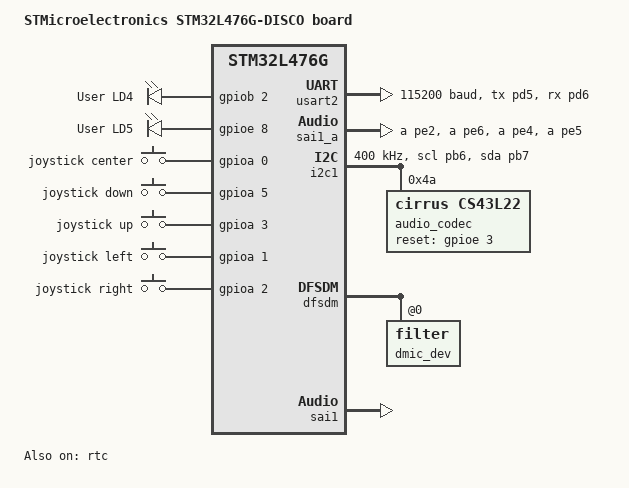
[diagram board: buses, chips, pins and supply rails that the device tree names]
/*
 * Copyright (c) 2017 Arthur Sfez
 *
 * Based on stm32l496g_disco:
 *
 * Copyright (c) 2017 Linaro Limited
 *
 * SPDX-License-Identifier: Apache-2.0
 */

/dts-v1/;
#include <st/l4/stm32l476Xg.dtsi>
#include <st/l4/stm32l476v(c-e-g)tx-pinctrl.dtsi>
#include <zephyr/dt-bindings/input/input-event-codes.h>

/ {
	model = "STMicroelectronics STM32L476G-DISCO board";
	compatible = "st,stm32l476g-disco";

	aliases {
		dmic0 = &dmic_dev;
		i2s-codec-tx = &sai1_a;
		led0 = &green_led_4;
		sw0 = &joy_center;
	};

	chosen {
		zephyr,console = &usart2;
		zephyr,shell-uart = &usart2;
		zephyr,sram = &sram0;
		zephyr,flash = &flash0;
	};

	leds {
		compatible = "gpio-leds";

		green_led_4: led_4 {
			gpios = <&gpiob 2 GPIO_ACTIVE_HIGH>;
			label = "User LD4";
		};

		green_led_5: led_5 {
			gpios = <&gpioe 8 GPIO_ACTIVE_HIGH>;
			label = "User LD5";
		};
	};

	gpio_keys {
		compatible = "gpio-keys";

		joy_center: joystick_center {
			label = "joystick center";
			gpios = <&gpioa 0 (GPIO_ACTIVE_HIGH | GPIO_PULL_DOWN)>;
			zephyr,code = <INPUT_KEY_ENTER>;
		};

		joy_down: joystick_down {
			label = "joystick down";
			gpios = <&gpioa 5 (GPIO_ACTIVE_HIGH | GPIO_PULL_DOWN)>;
			zephyr,code = <INPUT_KEY_DOWN>;
		};

		joy_up: joystick_up {
			label = "joystick up";
			gpios = <&gpioa 3 (GPIO_ACTIVE_HIGH | GPIO_PULL_DOWN)>;
			zephyr,code = <INPUT_KEY_UP>;
		};

		joy_left: joystick_left {
			label = "joystick left";
			gpios = <&gpioa 1 (GPIO_ACTIVE_HIGH | GPIO_PULL_DOWN)>;
			zephyr,code = <INPUT_KEY_LEFT>;
		};

		joy_right: joystick_right {
			label = "joystick right";
			gpios = <&gpioa 2 (GPIO_ACTIVE_HIGH | GPIO_PULL_DOWN)>;
			zephyr,code = <INPUT_KEY_RIGHT>;
		};
	};
};

&clk_lsi {
	status = "okay";
};

&clk_hsi {
	status = "okay";
};

&pll {
	div-m = <1>;
	mul-n = <20>;
	div-p = <7>;
	div-q = <2>;
	div-r = <4>;
	clocks = <&clk_hsi>;
	status = "okay";
};

&pllsai1 {
	div-m = <1>;
	mul-n = <22>;
	div-p = <7>;
	clocks = <&clk_hsi>;
	status = "okay";
};

&rcc {
	clocks = <&pll>;
	clock-frequency = <DT_FREQ_M(80)>;
	ahb-prescaler = <1>;
	apb1-prescaler = <1>;
	apb2-prescaler = <1>;
};

&usart2 {
	pinctrl-0 = <&usart2_tx_pd5 &usart2_rx_pd6>;
	pinctrl-names = "default";
	current-speed = <115200>;
	status = "okay";
};

&rtc {
	clocks = <&rcc STM32_CLOCK(APB1, 28)>,
		 <&rcc STM32_SRC_LSI RTC_SEL(2)>;
	status = "okay";

	backup_regs {
		status = "okay";
	};
};

&sai1_a {
	pinctrl-0 = <&sai1_mclk_a_pe2 &sai1_sd_a_pe6
		     &sai1_fs_a_pe4 &sai1_sck_a_pe5>;
	pinctrl-names = "default";
	mclk-enable;
	mclk-divider = "div-256";
	dma-names = "tx";
	status = "okay";
};

&i2c1 {
	clock-frequency = <I2C_BITRATE_FAST>;
	pinctrl-0 = <&i2c1_scl_pb6 &i2c1_sda_pb7>;
	pinctrl-names = "default";
	status = "okay";

	audio_codec: cs43l22@4a {
		compatible = "cirrus,cs43l22";
		reg = <0x4a>;
		reset-gpios = <&gpioe 3 0>;
	};
};

&dfsdm {
	dmic_dev: filter@0 {
		pinctrl-0 = <&dfsdm1_ckout_pe9
			     &dfsdm1_datin2_pe7>;
		pinctrl-names = "default";
		status = "okay";

		channel@2 {
			reg = <2>;
		};
	};

	status = "okay";
};

&dma2 {
	status = "okay";
};

&sai1 {
	status = "okay";
};

/* SLCD configuration */
&slcd {
	status = "disabled";
	lcd-voltage-source = <0>;
	lcd-prescaler = <0>;
	lcd-divider = <0x003c0000>;
	lcd-contrast = <0x00001400>;
	lcd-pulse-on-duration = <0x00000040>;
	lcd-dead-time = <0>;
	lcd-high-drive = <0>;
	lcd-blink-mode = <0>;
	lcd-blink-frequency = <0x00004000>;
	pinctrl-0 = <&lcd_seg3_pa6 &lcd_seg4_pa7 &lcd_com0_pa8
		     &lcd_com1_pa9 &lcd_com2_pa10 &lcd_seg17_pa15
		     &lcd_seg5_pb0 &lcd_seg6_pb1 &lcd_seg8_pb4
		     &lcd_seg9_pb5 &lcd_com3_pb9 &lcd_seg12_pb12
		     &lcd_seg13_pb13 &lcd_seg14_pb14 &lcd_seg15_pb15
		     &lcd_vlcd_pc3 &lcd_seg22_pc4 &lcd_seg23_pc5
		     &lcd_seg24_pc6 &lcd_seg25_pc7 &lcd_seg26_pc8
		     &lcd_seg28_pd8 &lcd_seg29_pd9 &lcd_seg30_pd10 &lcd_seg31_pd11
		     &lcd_seg32_pd12 &lcd_seg33_pd13 &lcd_seg34_pd14 &lcd_seg35_pd15>;
	pinctrl-names = "default";
	pin-list = <4 23 6 13 15 29 31 33 35 25 17 8 9 26 24 34 32 30 28 14 12 5 22 3>;
	com-list = <0 2 4 6 1 3 5 7>;
	character-bit-list = <
			      /* MCU AFP11 channel for segment 1A-1P */
			      (1 << 22) (1 << 22) (1 << 23) (1 << 4) (1 << 4) (1 << 3) (1 << 3)
			      (1 << 3) (1 << 22) (1 << 22) (1 << 23) (1 << 4) (1 << 4) (1 << 3)
			      /* MCU AFP11 channel for segment 2A-2P */
			      (1 << 12) (1 << 12) (1 << 13) (1 << 6) (1 << 6) (1 << 5) (1 << 5)
			      (1 << 5) (1 << 12) (1 << 12) (1 << 13) (1 << 6) (1 << 6) (1 << 5)
			      /* MCU AFP11 channel for segment 1A-1P */
			      (1 << 28) (1 << 28) (1 << 29) (1 << 15) (1 << 15) (1 << 14) (1 << 14)
			      (1 << 14) (1 << 28) (1 << 28) (1 << 29) (1 << 15) (1 << 15) (1 << 14)
			      /* MCU AFP11 channel for segment 2A-2P */
			      (1 << 0) (1 << 0) (1 << 1) (1 << 31) (1 << 31) (1 << 30) (1 << 30)
			      (1 << 30) (1 << 0) (1 << 0) (1 << 1) (1 << 31) (1 << 31) (1 << 30)
			      /* MCU AFP11 channel for segment 3A-3P */
			      (1 << 24) (1 << 24) (1 << 25) (1 << 3) (1 << 3) (1 << 2) (1 << 2)
			      (1 << 2)
			      (1 << 24) (1 << 24) (1 << 25) (1 << 3) (1 << 3) (1 << 2)
			      /* MCU AFP11 channel for segment 4A-4P */
			      (1 << 9) (1 << 9) (1 << 8) (1 << 17) (1 << 17) (1 << 26) (1 << 26)
			      (1 << 26)
			      (1 << 9) (1 << 9) (1 << 8) (1 << 17) (1 << 17) (1 << 26)>;
	character-com-list = <
			      /* COM RAM register for segment 1A-1P */
			      2 0 2 2 0 2 0 6 6 4 0 6 4 4
			      /* COM RAM register for segment 2A-2P */
			      2 0 2 2 0 2 0 6 6 4 0 6 4 4
			      /* COM RAM register for segment 1A-1P */
			      2 0 2 2 0 2 0 6 6 4 0 6 4 4
			      /* COM RAM register for segment 2A-2P */
			      3 1 3 2 0 2 0 6 7 5 1 6 4 4
			      /* COM RAM register for segment 3A-3P */
			      2 0 2 3 1 3 1 7 6 4 0 7 5 5
			      /* COM RAM register for segment 4A-4P */
			      2 0 2 2 0 2 0 6 6 4 0 6 4 4>;
	indicator-bit-list = <(1 << 23) (1 << 23) (1 << 13) (1 << 13)
			      (1 << 29) (1 << 29) (1 << 1) (1 << 1)
			      (1 << 8) (1 << 8) (1 << 25) (1 << 25)>;
	indicator-com-list = <6 4 6 4 6 4 7 5 6 4 6 4>;
	custom-character-slot-count = <32>;
};
